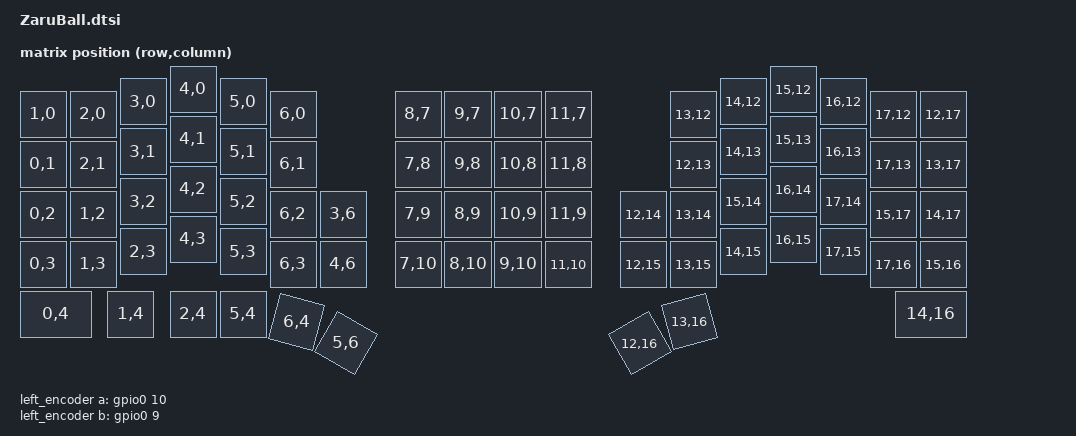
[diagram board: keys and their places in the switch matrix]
#include <dt-bindings/zmk/matrix_transform.h> // included when matrix transform added
#include <physical_layouts.dtsi> // When using keys property include needed

// chosen node
/ {
    chosen {
        zmk,kscan = &kscan0;
        zmk,physical-layout = &physical_layout0;
    };
};

// physical layouts (key propretyあり)
/ {
    physical_layout0: physical_layout0 {
        compatible = "zmk,physical-layout";
        display-name = "Default Layout";
        transform = <&default_transform>;
        // chose nodeで設定しているからkscanいらない？ kscan = <&kscan0>;
        keys  //                     w   h    x    y     rot    rx    ry
        // Left Row0
            = <&key_physical_attrs 100 100    0   50       0     0     0>
            , <&key_physical_attrs 100 100  100   50       0     0     0>
            , <&key_physical_attrs 100 100  200   25       0     0     0>
            , <&key_physical_attrs 100 100  300    0       0     0     0>
            , <&key_physical_attrs 100 100  400   25       0     0     0>
            , <&key_physical_attrs 100 100  500   50       0     0     0>
        // Mack Row0
            , <&key_physical_attrs 100 100  750   50       0     0     0>
            , <&key_physical_attrs 100 100  850   50       0     0     0>
            , <&key_physical_attrs 100 100  950   50       0     0     0>
            , <&key_physical_attrs 100 100 1050   50       0     0     0>
        // Right Row0
            , <&key_physical_attrs 100 100 1300   50       0     0     0>
            , <&key_physical_attrs 100 100 1400   25       0     0     0>
            , <&key_physical_attrs 100 100 1500    0       0     0     0>
            , <&key_physical_attrs 100 100 1600   25       0     0     0>
            , <&key_physical_attrs 100 100 1700   50       0     0     0>
            , <&key_physical_attrs 100 100 1800   50       0     0     0>

        // Left Row1
            , <&key_physical_attrs 100 100    0  150       0     0     0>
            , <&key_physical_attrs 100 100  100  150       0     0     0>
            , <&key_physical_attrs 100 100  200  125       0     0     0>
            , <&key_physical_attrs 100 100  300  100       0     0     0>
            , <&key_physical_attrs 100 100  400  125       0     0     0>
            , <&key_physical_attrs 100 100  500  150       0     0     0>

        // Mack Row1
            , <&key_physical_attrs 100 100  750   150       0     0     0>
            , <&key_physical_attrs 100 100  850   150       0     0     0>
            , <&key_physical_attrs 100 100  950   150       0     0     0>
            , <&key_physical_attrs 100 100 1050   150       0     0     0>

        // Right Row1
            , <&key_physical_attrs 100 100 1300  150       0     0     0>
            , <&key_physical_attrs 100 100 1400  125       0     0     0>
            , <&key_physical_attrs 100 100 1500  100       0     0     0>
            , <&key_physical_attrs 100 100 1600  125       0     0     0>
            , <&key_physical_attrs 100 100 1700  150       0     0     0>
            , <&key_physical_attrs 100 100 1800  150       0     0     0>

        // Left Row2
            , <&key_physical_attrs 100 100    0  250       0     0     0>
            , <&key_physical_attrs 100 100  100  250       0     0     0>
            , <&key_physical_attrs 100 100  200  225       0     0     0>
            , <&key_physical_attrs 100 100  300  200       0     0     0>
            , <&key_physical_attrs 100 100  400  225       0     0     0>
            , <&key_physical_attrs 100 100  500  250       0     0     0>
            , <&key_physical_attrs 100 100  600  250       0     0     0>

        // Mack Row2
            , <&key_physical_attrs 100 100  750   250       0     0     0>
            , <&key_physical_attrs 100 100  850   250       0     0     0>
            , <&key_physical_attrs 100 100  950   250       0     0     0>
            , <&key_physical_attrs 100 100 1050   250       0     0     0>

        // Right Row2
            , <&key_physical_attrs 100 100 1200  250       0     0     0>
            , <&key_physical_attrs 100 100 1300  250       0     0     0>
            , <&key_physical_attrs 100 100 1400  225       0     0     0>
            , <&key_physical_attrs 100 100 1500  200       0     0     0>
            , <&key_physical_attrs 100 100 1600  225       0     0     0>
            , <&key_physical_attrs 100 100 1700  250       0     0     0>
            , <&key_physical_attrs 100 100 1800  250       0     0     0>

        // Left Row3
            , <&key_physical_attrs 100 100    0  350       0     0     0>
            , <&key_physical_attrs 100 100  100  350       0     0     0>
            , <&key_physical_attrs 100 100  200  325       0     0     0>
            , <&key_physical_attrs 100 100  300  300       0     0     0>
            , <&key_physical_attrs 100 100  400  325       0     0     0>
            , <&key_physical_attrs 100 100  500  350       0     0     0>
            , <&key_physical_attrs 100 100  600  350       0     0     0>

            // Mack Row2
            , <&key_physical_attrs 100 100  750   350       0     0     0>
            , <&key_physical_attrs 100 100  850   350       0     0     0>
            , <&key_physical_attrs 100 100  950   350       0     0     0>
            , <&key_physical_attrs 100 100 1050   350       0     0     0>

            // Right Row3
            , <&key_physical_attrs 100 100 1200  350       0     0     0>
            , <&key_physical_attrs 100 100 1300  350       0     0     0>
            , <&key_physical_attrs 100 100 1400  325       0     0     0>
            , <&key_physical_attrs 100 100 1500  300       0     0     0>
            , <&key_physical_attrs 100 100 1600  325       0     0     0>
            , <&key_physical_attrs 100 100 1700  350       0     0     0>
            , <&key_physical_attrs 100 100 1800  350       0     0     0>


            , <&key_physical_attrs 150 100    0  450       0     0     0>
            , <&key_physical_attrs 100 100  175  450       0     0     0>
            , <&key_physical_attrs 100 100  300  450       0     0     0>
            , <&key_physical_attrs 100 100  400  450       0     0     0>
            , <&key_physical_attrs 100 100  522  455    1500   522   455>
            , <&key_physical_attrs 100 100  638  490    3000   638   490>

            , <&key_physical_attrs 100 100 1175  540  (-3000) 1175   540>
            , <&key_physical_attrs 100 100 1282  480  (-1500) 1282   480>
            , <&key_physical_attrs 150 100 1750  450       0     0     0>
            ;
    };
};

//matrix transoform(Row is always the driver pin)
/ {
    default_transform: keymap_transform0 {
        compatible = "zmk,matrix-transform";
        columns = <16>;
        rows = <18>;
        map = <
            RC(1,0) RC(2,0) RC(3,0) RC(4,0) RC(5,0) RC(6,0)           RC(8,7)  RC(9,7)  RC(10,7) RC(11,7)               RC(13,12) RC(14,12) RC(15,12) RC(16,12) RC(17,12) RC(12,17)
            RC(0,1) RC(2,1) RC(3,1) RC(4,1) RC(5,1) RC(6,1)           RC(7,8)  RC(9,8)  RC(10,8) RC(11,8)               RC(12,13) RC(14,13) RC(15,13) RC(16,13) RC(17,13) RC(13,17)
            RC(0,2) RC(1,2) RC(3,2) RC(4,2) RC(5,2) RC(6,2) RC(3,6)   RC(7,9)  RC(8,9)  RC(10,9) RC(11,9)    RC(12,14)  RC(13,14) RC(15,14) RC(16,14) RC(17,14) RC(15,17) RC(14,17)
            RC(0,3) RC(1,3) RC(2,3) RC(4,3) RC(5,3) RC(6,3) RC(4,6)   RC(7,10) RC(8,10) RC(9,10) RC(11,10)   RC(12,15)  RC(13,15) RC(14,15) RC(16,15) RC(17,15) RC(17,16) RC(15,16)
            RC(0,4)         RC(1,4) RC(2,4) RC(5,4) RC(6,4) RC(5,6)                                          RC(12,16)  RC(13,16)                                         RC(14,16)
        >;
    };
};

// kscan
/ {
    kscan0: kscan0 {
        compatible = "zmk,kscan-gpio-charlieplex";
        wakeup-source;
    };
};

// encoder
/ {
    left_encoder: encoder_left {
        compatible = "alps,ec11";
        a-gpios = <&gpio0 10 (GPIO_ACTIVE_HIGH | GPIO_PULL_UP)>;
        b-gpios = <&gpio0 9  (GPIO_ACTIVE_HIGH | GPIO_PULL_UP)>;
        steps = <80>;
        status = "disabled";
    };
};

//sensor
/ {
    sensors: sensors {
        compatible = "zmk,keymap-sensors";
        sensors = <&left_encoder>;
        triggers-per-rotation = <20>;
    };
};

//trackball
#include <zephyr/dt-bindings/input/input-event-codes.h>

&pinctrl {
    spi0_default: spi0_default {
        group1 {
            psels = <NRF_PSEL(SPIM_SCK, 1, 15)>,
                <NRF_PSEL(SPIM_MOSI, 1, 13)>,
                <NRF_PSEL(SPIM_MISO, 1, 13)>;
        };
    };

    spi0_sleep: spi0_sleep {
        group1 {
            psels = <NRF_PSEL(SPIM_SCK, 1, 15)>,
                <NRF_PSEL(SPIM_MOSI, 1, 13)>,
                <NRF_PSEL(SPIM_MISO, 1, 13)>;
            low-power-enable;
        };
    };
};

&spi0 {
    status = "okay";
    compatible = "nordic,nrf-spim";
    pinctrl-0 = <&spi0_default>;
    pinctrl-1 = <&spi0_sleep>;
    pinctrl-names = "default", "sleep";
    cs-gpios = <&gpio1 14 GPIO_ACTIVE_LOW>;

    trackball: trackball@0 {
        status = "okay";
        compatible = "pixart,pmw3610-alt";
        reg = <0>;
        spi-max-frequency = <2000000>;
        irq-gpios = <&gpio1 12 (GPIO_ACTIVE_LOW | GPIO_PULL_UP)>;
        cpi = <600>;
        evt-type = <INPUT_EV_REL>;
        x-input-code = <INPUT_REL_X>;
        y-input-code = <INPUT_REL_Y>;

        force-awake;
        /* keep the sensor awake while ZMK activity state is ACTIVE,
        fallback to normal downshift mode after ZMK goes into IDLE / SLEEP mode.
        thus, the sensor would be a `wakeup-source` */
    };
};

/ {
    trackball_listener: trackball_listener {
    compatible = "zmk,input-listener";
    status = "disabled";
    device = <&trackball>;
    };
};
